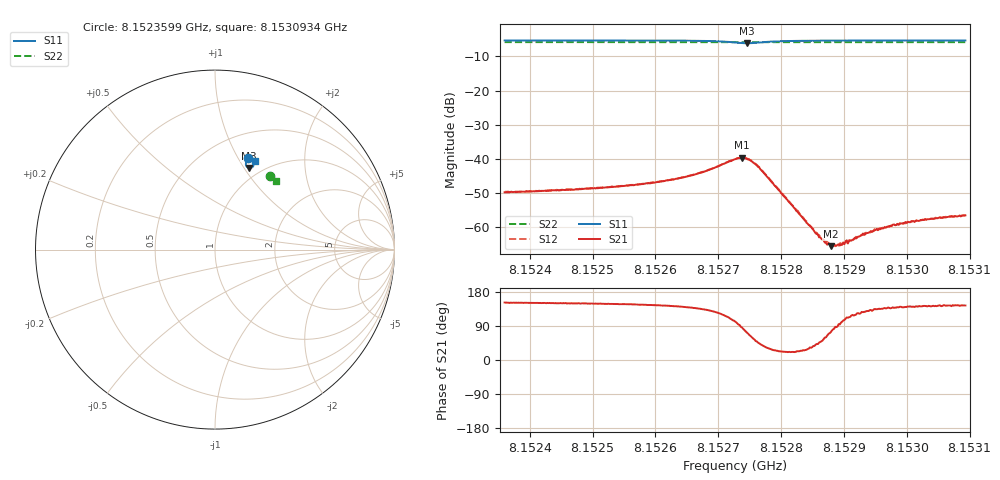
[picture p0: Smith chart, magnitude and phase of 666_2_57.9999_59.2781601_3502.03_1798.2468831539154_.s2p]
#  HZ  S  RI  R  50.00
! Rohde & Schwarz Vector Network Analyzer
! Rohde-Schwarz,ZNB20-2Port,1311601062101988,3.16
! Created: UTC 3/21/2024, 1:20:09 AM
! freq[Hz]  re:S11  im:S11  re:S21  im:S21  re:S12  im:S12  re:S22  im:S22
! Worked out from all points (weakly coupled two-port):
!   401 points, 8.1523599 GHz to 8.1530934 GHz, reference 50 ohm
!   highest |S21| = -39.64 dB at 8.1527377 GHz (marker M1); lowest = -65.5 dB at 8.1528789 GHz (marker M2)
!   lowest |S11| = -6.2 dB at 8.152745 GHz (marker M3), VSWR 2.94, Z = 43.6 + j52.4 ohm
!   |S11| at or under -10 dB: nowhere
!   |S22| runs from -5.9 to -5.8 dB; largest |S21 - S12| = 0.00026
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8.15235991e9  0.1814 0.5093  -0.00286 0.00154  -0.00285 0.00162  0.3049 0.4108
8.15248277e9  0.1913 0.5057  -0.00311 0.00186  -0.00312 0.00192  0.3112 0.4059
8.15255246e9  0.1977 0.5026  -0.00342 0.0022  -0.00339 0.00225  0.3144 0.403
8.15260564e9  0.2034 0.4993  -0.00375 0.00269  -0.00374 0.00279  0.3172 0.4008
8.15266066e9  0.2109 0.4927  -0.00431 0.00399  -0.00429 0.00407  0.32 0.3984
8.15268633e9  0.2152 0.4857  -0.00454 0.00532  -0.00453 0.0054  0.3211 0.3972
8.15272667e9  0.2094 0.4604  -0.00201 0.0097  -0.00185 0.0098  0.3227 0.3948
8.15273768e9  0.1972 0.4546  0.000769 0.0104  0.000905 0.0105  0.3225 0.3942
8.15274501e9  0.187 0.4555  0.00292 0.00972  0.00288 0.00979  0.3224 0.394
8.15275235e9  0.1784 0.4609  0.00443 0.00828  0.00455 0.00836  0.3226 0.3941
8.15276518e9  0.1719 0.4749  0.00545 0.00528  0.00548 0.00513  0.3232 0.3942
8.15284954e9  0.1948 0.4999  0.000797 0.000538  0.000822 0.000541  0.3284 0.3914
8.15286971e9  0.1984 0.4999  0.000306 0.000515  0.000323 0.000536  0.3293 0.3905
8.15287888e9  0.1997 0.4999  0.000157 0.000508  0.0002 0.000533  0.3297 0.3903
8.15288805e9  0.2012 0.4997  3.06e-05 0.000535  3.99e-05 0.000535  0.3303 0.3896
8.15289722e9  0.2024 0.4995  -0.000108 0.000546  -7.52e-05 0.000571  0.3306 0.3894
8.15291006e9  0.2039 0.4992  -0.000258 0.000588  -0.000266 0.000598  0.3315 0.3888
8.1529339e9  0.2067 0.4986  -0.00048 0.000626  -0.000502 0.000659  0.3326 0.3877
8.15297241e9  0.2104 0.4977  -0.00077 0.000706  -0.000748 0.000683  0.3344 0.3861
8.15298891e9  0.212 0.4971  -0.000864 0.000712  -0.000867 0.000751  0.3352 0.3853
8.15302925e9  0.2156 0.496  -0.00104 0.000801  -0.00102 0.000829  0.3372 0.3836
8.15309344e9  0.2206 0.4942  -0.00121 0.000883  -0.00119 0.000876  0.3403 0.3808
